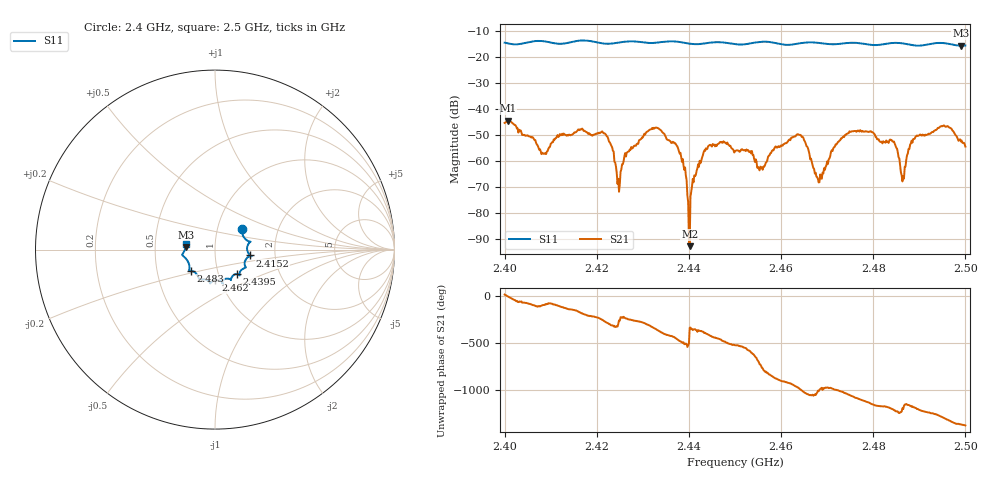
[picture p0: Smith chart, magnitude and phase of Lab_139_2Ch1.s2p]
# Hz S RI R 50
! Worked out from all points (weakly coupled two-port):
!   601 points, 2.4 GHz to 2.5 GHz, reference 50 ohm
!   highest |S21| = -44.49 dB at 2.4007 GHz (marker M1); lowest = -92.6 dB at 2.4402 GHz (marker M2)
!   lowest |S11| = -15.7 dB at 2.499 GHz (marker M3), VSWR 1.39, Z = 35.9 + j1.12 ohm
!   |S11| at or under -10 dB: start of sweep to end of sweep
!   S12 and S22 are empty: the file has one direction only
!   S11 on the Smith chart (normalised r, x): 2.4 GHz: 1.31, +0.31; 2.4152 GHz: 1.48, -0.10; 2.4395 GHz: 1.23, -0.34; 2.462 GHz: 0.95, -0.33; 2.483 GHz: 0.74, -0.18; 2.5 GHz: 0.72, +0.05
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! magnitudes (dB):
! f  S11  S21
! 2.4 GHz  -14.5  -45.3
! 2.4007 GHz  -14.8  -44.5
! 2.4085 GHz  -14.0  -57.2
! 2.4152 GHz  -14.0  -48.9
! 2.4167 GHz  -13.7  -47.7
! 2.422 GHz  -14.9  -49.9
! 2.4248 GHz  -14.5  -71.7
! 2.4333 GHz  -14.4  -47.3
! 2.4377 GHz  -14.2  -55.3
! 2.4395 GHz  -14.7  -67.3
! 2.4402 GHz  -14.9  -92.6
! 2.4438 GHz  -14.7  -55.4
! 2.45 GHz  -15.1  -56.2
! 2.4557 GHz  -14.2  -62.7
! 2.462 GHz  -15.3  -51.9
! 2.4667 GHz  -14.4  -60.3
! 2.483 GHz  -14.9  -52.6
! 2.4833 GHz  -14.8  -53.0
! 2.4865 GHz  -14.8  -65.7
! 2.4897 GHz  -15.7  -50.3
! 2.499 GHz  -15.7  -52.4
! 2.5 GHz  -15.6  -54.4
